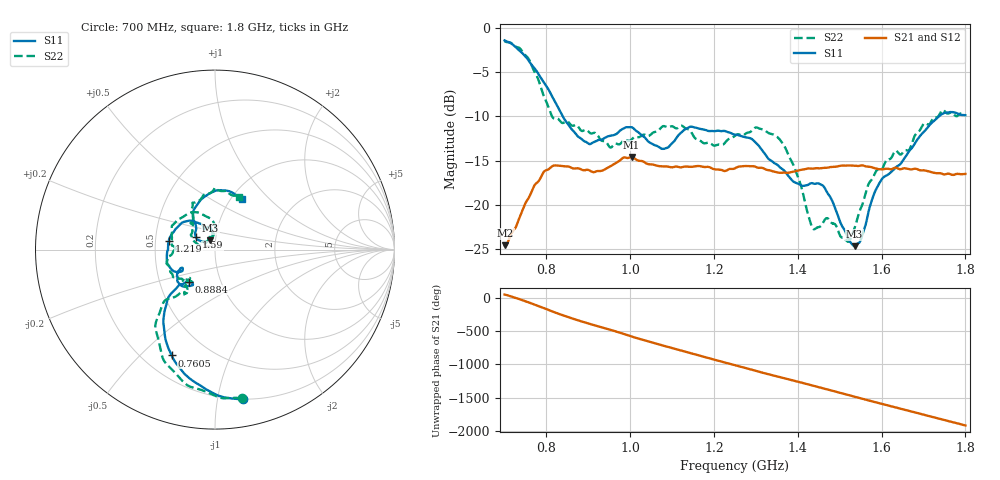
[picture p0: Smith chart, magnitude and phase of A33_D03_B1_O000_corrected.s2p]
! Created with skrf 1.9.0 (http://scikit-rf.org).
# Hz S RI R 50.0
!freq ReS11 ImS11 ReS21 ImS21 ReS12 ImS12 ReS22 ImS22
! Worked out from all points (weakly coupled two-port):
!   1601 points, 700 MHz to 1.8 GHz, reference 50 ohm
!   highest |S21| = -14.59 dB at 1.003 GHz (marker M1); lowest = -24.6 dB at 701.4 MHz (marker M2)
!   lowest |S11| = -24.7 dB at 1.535 GHz (marker M3), VSWR 1.12, Z = 47.2 + j4.94 ohm
!   |S11| at or under -10 dB: 839 MHz to 1.737 GHz (897.6 MHz wide, 69.7 % of centre)
!   |S22| runs from -24.2 to -1.5 dB; largest |S21 - S12| = 0.0035
!   S11 on the Smith chart (normalised r, x): 700 MHz: 0.20, -1.19; 760.5 MHz: 0.31, -0.62; 888.4 MHz: 0.70, -0.27; 1.219 GHz: 0.59, +0.06; 1.59 GHz: 0.80, +0.11; 1.8 GHz: 1.12, +0.71
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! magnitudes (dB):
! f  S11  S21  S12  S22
! 700 MHz  -1.4  -24.6  -24.3  -1.5
! 701.4 MHz  -1.4  -24.6  -24.2  -1.5
! 760.5 MHz  -3.9  -18.9  -18.8  -3.8
! 814.8 MHz  -7.9  -15.6  -15.7  -10.1
! 883.6 MHz  -12.5  -16.0  -15.9  -11.6
! 888.4 MHz  -12.7  -16.1  -16.0  -11.6
! 953 MHz  -12.2  -15.6  -15.6  -13.5
! 1.003 GHz  -11.2  -14.6  -14.7  -12.6
! 1.067 GHz  -13.4  -15.6  -15.5  -11.6
! 1.143 GHz  -11.2  -15.7  -15.7  -11.6
! 1.219 GHz  -11.7  -16.1  -16.1  -13.2
! 1.25 GHz  -12.1  -15.9  -15.8  -12.2
! 1.357 GHz  -15.7  -16.4  -16.3  -12.6
! 1.396 GHz  -17.5  -16.2  -16.2  -16.3
! 1.434 GHz  -17.5  -15.9  -15.9  -22.5
! 1.464 GHz  -18.0  -15.8  -15.8  -21.7
! 1.518 GHz  -23.6  -15.5  -15.5  -24.1
! 1.535 GHz  -24.7  -15.6  -15.6  -22.7
! 1.59 GHz  -18.0  -15.9  -15.9  -16.0
! 1.617 GHz  -16.5  -15.9  -15.9  -14.9
! 1.74 GHz  -9.9  -16.4  -16.4  -9.6
! 1.8 GHz  -9.9  -16.5  -16.5  -9.9
